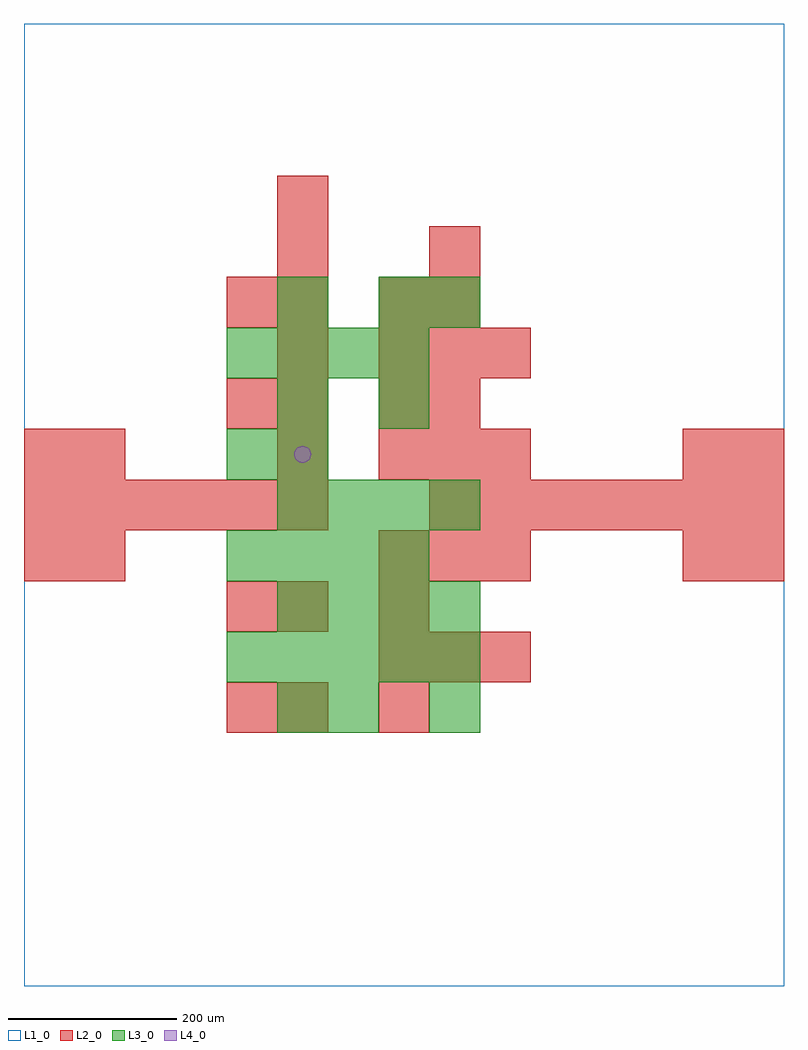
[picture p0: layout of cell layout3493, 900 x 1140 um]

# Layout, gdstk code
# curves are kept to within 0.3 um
import gdstk
lib = gdstk.Library(unit=1e-6, precision=1e-09)
def R(c, l, rs):  # rectangles x0, y0, x1, y1
    for r in rs: c.add(gdstk.rectangle(r[:2], r[2:], *l))
def A(c, l, x, y, w, h, nx, ny, dx, dy):  # array of equal rectangles
    R(c, l, [(x+i*dx, y+j*dy, x+i*dx+w, y+j*dy+h) for i in range(nx) for j in range(ny)])
def P(c, l, *ps):  # polygons
    for p in ps: c.add(gdstk.Polygon(p, *l))
L1_0 = (1, 0)
L2_0 = (2, 0)
L3_0 = (3, 0)
L4_0 = (4, 0)

layout3493 = lib.new_cell('layout3493')
R(layout3493, L1_0, [(0,0,900,1140)])
A(layout3493, L2_0, 420, 360, 60, 60, 3, 4, 60, 120)
A(layout3493, L2_0, 0, 540, 60, 60, 6, 1, 60, 0)
A(layout3493, L2_0, 480, 540, 60, 60, 7, 1, 60, 0)
A(layout3493, L2_0, 300, 600, 60, 60, 1, 6, 0, 60)
R(layout3493, L2_0, [(240,300,300,360), (300,300,360,360), (420,300,480,360), (240,420,300,480), (300,420,360,480), (420,420,480,480), (0,480,60,540), (60,480,120,540), (780,480,840,540), (840,480,900,540), (0,600,60,660), (60,600,120,660), (780,600,840,660), (840,600,900,660), (240,660,300,720), (420,660,480,720), (480,660,540,720), (240,780,300,840), (420,780,480,840), (480,780,540,840), (480,840,540,900)])
A(layout3493, L3_0, 240, 360, 60, 60, 5, 1, 60, 0)
A(layout3493, L3_0, 300, 420, 60, 60, 4, 2, 60, 120)
A(layout3493, L3_0, 240, 480, 60, 60, 4, 2, 60, 240)
R(layout3493, L3_0, [(300,300,360,360), (360,300,420,360), (480,300,540,360), (240,600,300,660), (300,600,360,660), (300,660,360,720), (420,660,480,720), (300,780,360,840), (420,780,480,840), (480,780,540,840)])
P(layout3493, L4_0, [(340,630),(339.239,633.827),(337.071,637.071),(333.827,639.239),(330,640),(326.173,639.239),(322.929,637.071),(320.761,633.827),(320,630),(320.761,626.173),(322.929,622.929),(326.173,620.761),(330,620),(333.827,620.761),(337.071,622.929),(339.239,626.173)])

lib.write_gds('layout3493.gds')
